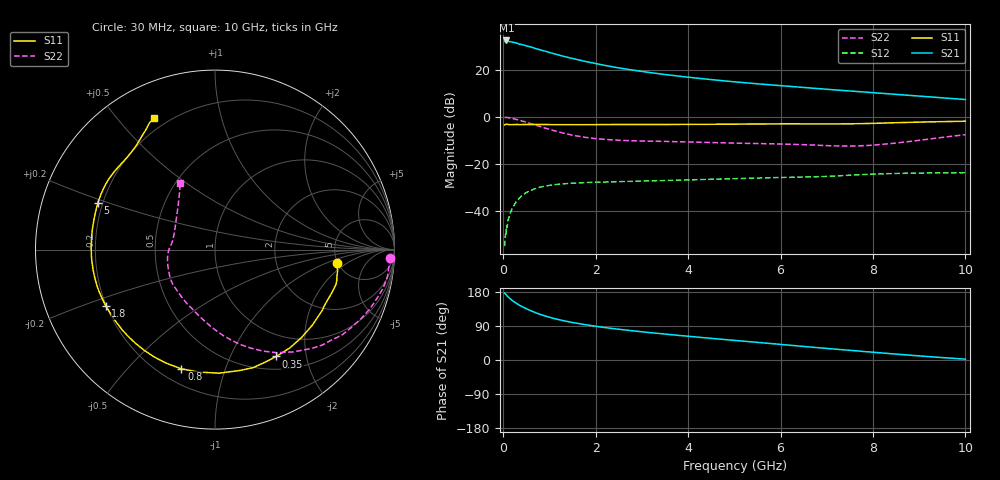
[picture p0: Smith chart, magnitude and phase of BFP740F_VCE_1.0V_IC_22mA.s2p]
! Infineon Technologies  Discrete & RF Semiconductors
! BFP740F
! VCE =  1.0 V,  IC =  22 mA
! Common Emitter S-Parameters:  Oct 2012
# GHz  S  MA  R  50
!  f  S11  S21  S12  S22
! GHz  MAG  ANG  MAG  ANG  MAG  ANG  MAG  ANG
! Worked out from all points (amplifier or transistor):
!   99 points, 30 MHz to 10 GHz, reference 50 ohm
!   highest |S21| = 32.5 dB at 70 MHz (marker M1)
!   |S21| within 3 dB of that: start of sweep to 632.2 MHz
!   unconditionally stable (mu >= 1): 5.459 GHz to end of sweep
!   at 350 MHz: K = 0.12, MSG = 32.7 dB, |S12| = -34.5 dB
!   at 3.5 GHz: K = 0.73, MSG = 22.5 dB, |S12| = -27.0 dB
!   at 10 GHz: K = 1.27, MAG = 12.4 dB, |S12| = -23.7 dB
!   S11 on the Smith chart (normalised r, x): 30 MHz: 4.90, -1.35; 350 MHz: 0.67, -1.51; 800 MHz: 0.28, -0.72; 1.8 GHz: 0.20, -0.23; 5 GHz: 0.18, +0.18; 10 GHz: 0.15, +0.63
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0.03  0.6817 -6.2  39.87 176.5  0.0018 88.6  0.974 -2.7
0.07  0.6997 -14.1  41.95 171.2  0.0049 84.4  0.974 -7.4
0.1  0.6942 -20.0  40.94 167.1  0.0061 78.7  0.9672 -10.7
0.13  0.6857 -25.9  39.64 163.7  0.0075 80.8  0.9556 -14.0
0.2  0.6865 -38.0  38.51 156.5  0.0116 74.0  0.9243 -20.9
0.3  0.6883 -52.8  36.68 148.4  0.0169 67.4  0.8744 -29.8
0.35  0.6862 -60.2  35.03 144.6  0.0188 64.7  0.8522 -34.0
0.45  0.691 -72.0  33.44 138.2  0.023 58.9  0.7997 -41.7
0.6  0.6889 -88.1  30.41 129.9  0.0276 51.4  0.7175 -52.6
0.8  0.6901 -105.7  26.54 120.4  0.0323 43.6  0.6247 -64.8
1  0.6875 -119.3  23.35 112.8  0.0352 37.8  0.5444 -75.5
1.2  0.6848 -130.2  20.63 106.6  0.0372 33.6  0.48 -84.7
1.4  0.6836 -139.0  18.36 101.3  0.0385 30.3  0.4305 -92.9
1.7  0.6827 -149.7  15.66 94.7  0.04 26.9  0.3774 -104.0
1.8  0.6848 -152.8  14.89 92.7  0.0404 26.1  0.3656 -107.5
2.5  0.688 -168.8  10.99 81.2  0.0422 22.3  0.3195 -127.0
3.4  0.6903 177.4  8.177 69.6  0.0443 20.7  0.303 -141.8
5  0.702 158.4  5.557 51.8  0.0489 20.0  0.2778 -160.4
5.1  0.7034 157.4  5.449 50.7  0.0491 19.9  0.2768 -161.8
6.7  0.7086 140.6  4.067 33.7  0.0534 19.4  0.2527 177.5
8.5  0.7525 122.7  3.008 15.5  0.063 16.0  0.2782 140.6
10  0.8095 114.8  2.337 2.2  0.0654 11.2  0.4193 117.5
